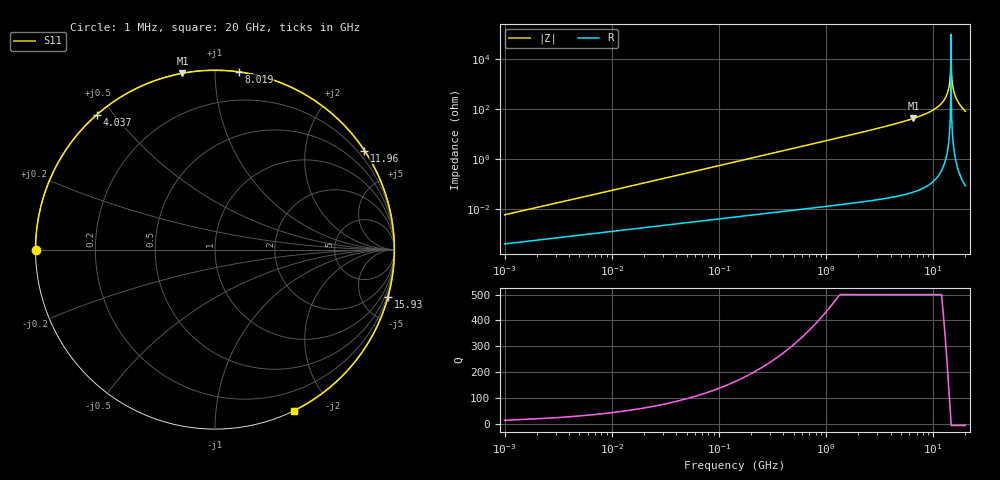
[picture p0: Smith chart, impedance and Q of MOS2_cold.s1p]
# GHz S RI R 50
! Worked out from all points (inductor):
!   10001 points, 1 MHz to 20 GHz, reference 50 ohm
!   read as one part to ground: L = 842 pH near 101 MHz
!   highest Q = 902 at 6.549 GHz (marker M1), where L = 1.01 nH
!   self-resonance near 14.68 GHz
!   S11 on the Smith chart (normalised r, x): 1 MHz: 0.00, +0.00; 4.037 GHz: 0.00, +0.45; 8.019 GHz: 0.00, +1.14; 11.96 GHz: 0.01, +3.32; 15.93 GHz: 0.03, -7.46; 20 GHz: 0.00, -1.60
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0.001  -1 0.000226
0.621  -0.9911 0.1305
1.239  -0.9656 0.258
1.865  -0.9231 0.3828
2.501  -0.8635 0.5028
3.253  -0.773 0.6331
4.037  -0.6576 0.7521
5.001  -0.4908 0.8701
5.785  -0.339 0.9397
6.549  -0.1815 0.9823
7.501  0.0217 0.9986
8.019  0.1328 0.99
8.999  0.3377 0.94
10.001  0.532 0.8454
10.945  0.6925 0.7198
11.959  0.8327 0.5518
12.501  0.8915 0.4506
13.135  0.9446 0.3248
13.759  0.9797 0.1953
14.379  0.9969 0.0636
15.001  0.9966 -0.0693
15.927  0.9637 -0.2632
16.701  0.9079 -0.4169
17.501  0.8252 -0.5632
18.143  0.7423 -0.6687
18.817  0.6415 -0.7659
19.467  0.5328 -0.8451
20.001  0.4367 -0.8986
